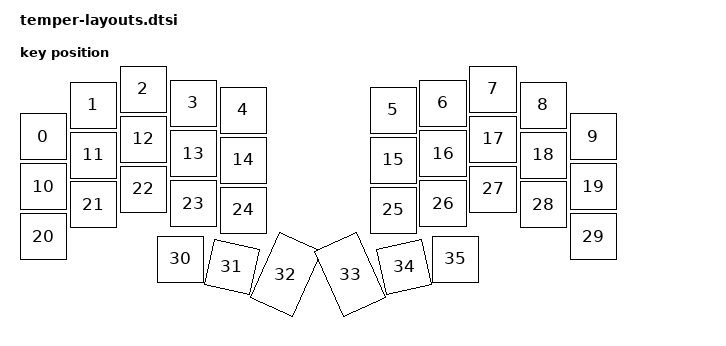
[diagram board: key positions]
#include <physical_layouts.dtsi>

/ {
    chocofi_temper_layout: chocofi_temper_layout {
        display-name = "Chocofi Temper";
        compatible = "zmk,physical-layout";
        transform = <&default_transform>; // Label of the matrix transform this layout uses

        keys  //                     w   h    x    y     rot    rx    ry
            = <&key_physical_attrs 100 100    0   95       0     0     0>
            , <&key_physical_attrs 100 100  100   32       0     0     0>
            , <&key_physical_attrs 100 100  200    0       0     0     0>
            , <&key_physical_attrs 100 100  300   28       0     0     0>
            , <&key_physical_attrs 100 100  400   42       0     0     0>
            , <&key_physical_attrs 100 100  700   42       0     0     0>
            , <&key_physical_attrs 100 100  800   28       0     0     0>
            , <&key_physical_attrs 100 100  900    0       0     0     0>
            , <&key_physical_attrs 100 100 1000   32       0     0     0>
            , <&key_physical_attrs 100 100 1100   95       0     0     0>
            , <&key_physical_attrs 100 100    0  195       0     0     0>
            , <&key_physical_attrs 100 100  100  132       0     0     0>
            , <&key_physical_attrs 100 100  200  100       0     0     0>
            , <&key_physical_attrs 100 100  300  129       0     0     0>
            , <&key_physical_attrs 100 100  400  142       0     0     0>
            , <&key_physical_attrs 100 100  700  142       0     0     0>
            , <&key_physical_attrs 100 100  800  129       0     0     0>
            , <&key_physical_attrs 100 100  900  100       0     0     0>
            , <&key_physical_attrs 100 100 1000  132       0     0     0>
            , <&key_physical_attrs 100 100 1100  195       0     0     0>
            , <&key_physical_attrs 100 100    0  295       0     0     0>
            , <&key_physical_attrs 100 100  100  231       0     0     0>
            , <&key_physical_attrs 100 100  200  200       0     0     0>
            , <&key_physical_attrs 100 100  300  229       0     0     0>
            , <&key_physical_attrs 100 100  400  242       0     0     0>
            , <&key_physical_attrs 100 100  700  242       0     0     0>
            , <&key_physical_attrs 100 100  800  229       0     0     0>
            , <&key_physical_attrs 100 100  900  200       0     0     0>
            , <&key_physical_attrs 100 100 1000  231       0     0     0>
            , <&key_physical_attrs 100 100 1100  295       0     0     0>
            , <&key_physical_attrs 100 100  275  340       0     0     0>
            , <&key_physical_attrs 100 100  375  340    1200   350   412>
            , <&key_physical_attrs 100 150  473  311    2400   448   433>
            , <&key_physical_attrs 100 150  627  311  (-2400)  752   433>
            , <&key_physical_attrs 100 100  725  340  (-1200)  850   412>
            , <&key_physical_attrs 100 100  825  340       0     0     0>
        ;
    };

    position_map {
		compatible = "zmk,physical-layout-position-map";
		complete;

        default {
            physical-layout = <&chocofi_temper_layout>;
            positions
                = < 0  1  2  3  4  5  6  7  8  9>
                , <10 11 12 13 14 15 16 17 18 19>
                , <20 21 22 23 24 25 26 27 28 29>
                , <      30 31 32 33 34 35      >;
        };
    };
};
